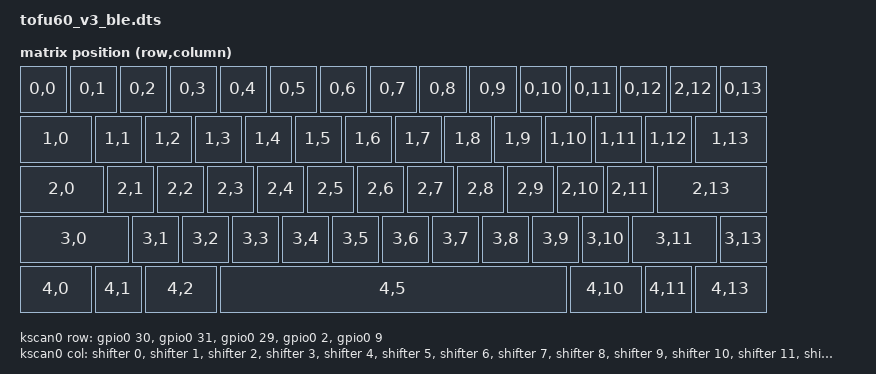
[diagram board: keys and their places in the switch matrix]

// SPDX-License-Identifier: MIT

/dts-v1/;
#include <nordic/nrf52840_qiaa.dtsi>
#include <common/nordic/nrf52840_uf2_boot_mode.dtsi>
#include <physical_layouts.dtsi>
#include <dt-bindings/zmk/matrix_transform.h>
#include <dt-bindings/led/led.h>
#include "tofu60_v3_ble-pinctrl.dtsi"

/*
  see
   https://github.com/yangdigi/zmk-keyboards-klink
   https://github.com/openkbd/zmk-config-tofu60-ble-3.0
*/

/*
                                  585   595
         row0  row1  row2  row3   SCK  MOSI       LED.B LED.G LED.R
           10     9     8     7     6     5     4     3     2     1
      ------+-----+-----+-----+-----+-----+-----+-----+-----+-----+------
   11 +  12                                                         |   |
   13 +  14                                                         |---|
   15 +  16                                                         |   |
   17 +  18 VBAT         EBYTE E73-2G4M08S1C                        |   |
   19 +  20                                                         |   |
   21 +  22                                 595                     | O |
   23 +  34                                  CS                     |---|
   25 +              28    30    32    34    36   38    40    42    |   |
      ------+-----+-----+-----+-----+-----+-----+-----+-----+-----+------
           26    27    29    31    33    35    37    39    41    43
          RST                                            row4

   1   P1.11         B19   Common I/O
   2   P1.10         A20   Common I/O   Low frequency I/ O, standard drive
   3   P0.03         B13   Common I/O   Analog input 1, low frequency I/O, standard drive
   4   AI4(P0.28)    B11   Common I/O   Analog input 4
   5   GND           -     -            Single ground line，connect to the power reference ground
   6   P1.13         A16   Common I/O   Low frequency I/O,  standard drive２
   7   AI0(P0.02)    A12   Common I/O   Analog input 0, low frequency I/O, standard drive
   8   AI5(P0.29)    A10   Common I/O   Analog input 5, low frequency I/O, standard drive
   9   AI7(P0.31)    A8    Common I/O   Analog input 7, low frequency I/O, standard
  10   AI6(P0.30)    B9    Common I/O   Analog input 6, low frequency I/O, standard drive

  11   XL1(P0.00)    D2    Common I/O   Connect to 32.768 kHz crystal
    12 P0.26         G1    Common I/O
  13   XL2(P0.01)    F2    Common I/O   Connect to 32.768 kHz crystal
    14 P0.06         L1    Common I/O
  15   AI3(P0.05)    K2    Common I/O   Analog input 3
    16 P0.08         N1    Common I/O
  17   P1.09         R1    Common I/O
    18 AI2(P0.04)    J1    Common I/O   Analog input 2
  19   VDD           -     -            Power supply
    20 P0.12         U1    Common I/O
  21   GND           -     -            ground line. connect to the power reference ground
    22 P0.07         M2    Common I/O
  23   VDH           VDDH  -            High-voltage power supply
    24 GND           -     -            ground line. connect to the power reference ground
  25   DCH           DCCH  -            DC/DC Converter output

  26   P0.18         RESET Common I/O   QSPI/CSN/external reset
  27   VBS           VBUS  -            USB power supply. 5V input. used to USB3.3V voltage regulator
    28 P0.15         AD10  Common I/O
  29   D-            D-    -            USB D-
    30 P0.17         AD12  Common I/O
  31   D+            D+    -            USB D+
    32 P0.20         AD16  Common I/O
  33   P0.13         AD8   Common I/O
    34 P0.22         AD18  Common I/O   QSPI
  35   P0.24         AD20  Common I/O
    36 P1.00         AD22  Common I/O
  37   SWD           SWDIO -            Serial debug programming port data
    38 P1.02         P1.02 Common I/O
  39   SWC           AC24  -            Serial debug programming port clock
    40 P1.04         U24   Common I/O   Low frequency I/O, standard drive
  41   NF1(P0.09)    L24   Common I/O   NFC input
    42 P1.06         R24   Common I/O   Low frequency I/O, standard drive
  43   NF2(p0.10)    J24   Common I/O   NFC input


                  col13 col12 col11 col10  col9                 col7  col6  col5  col4  col3  col2  col1
        s15   s14   s13   s12   s11   s10    s9                   s7    s6    s5    s4    s3    s2    s1
  GND    QH    QG    QF    QE    QD    QC    QB            GND    QH    QG    QF    QE    QD    QC    QB
    8     7     6     5     4     3     2     1              8     7     6     5     4     3     2     1
  ----------------------------------------------           ----------------------------------------------
  |                                          o |           |                                          o |
  |          U12  74HC595A                     |           |          U11  74HC595A                     |
  |                                            |           |                                            |
  ----------------------------------------------           ----------------------------------------------
    9    10    11    12    13    14    15    16              9    10    11    12    13    14    15    16
   QH' SRCLR  SRCLK RCLK   OE   SER    QA   VCC             QH' SRCLR  SRCLK RCLK   OE   SER    QA   VCC
                     CS   GND          S8                                     CS   GND   MOSI   S0
                                     col8                                                     col0

*/

/ {
  chosen {
    zephyr,code-partition = &code_partition;
    zephyr,sram = &sram0;
    zephyr,flash = &flash0;
    zmk,battery = &vbatt;
    zmk,physical-layout = &tsangan_layout;
  };

  vbatt: vbatt {
    compatible = "zmk,battery-voltage-divider";
    io-channels = <&adc 2>;
    output-ohms = <2000000>;
    full-ohms = <(2000000 + 820000)>;
  };


  leds {
    compatible = "gpio-leds";
    led_0: led_red {
      gpios = <&gpio1 11 GPIO_ACTIVE_LOW>;
      status = "okay";
    };
    led_1: led_green {
      gpios = <&gpio1 10 GPIO_ACTIVE_LOW>;
      status = "okay";
    };
    led_2: led_blue {
      gpios = <&gpio0 3 GPIO_ACTIVE_LOW>;
      status = "okay";
    };
  };

  aliases {
    ledred   = &led_0;
    ledgreen = &led_1;
    ledblue  = &led_2;
  };

  tsangan_transform: keymap_transform_0 {
    compatible = "zmk,matrix-transform";
    columns = <14>;
    rows = <5>;
    map =
      <
       RC(0,0) RC(0,1) RC(0,2) RC(0,3) RC(0,4) RC(0,5) RC(0,6) RC(0,7) RC(0,8) RC(0,9) RC(0,10) RC(0,11) RC(0,12) RC(2,12) RC(0,13)
       RC(1,0)    RC(1,1) RC(1,2) RC(1,3) RC(1,4) RC(1,5) RC(1,6) RC(1,7) RC(1,8) RC(1,9) RC(1,10) RC(1,11) RC(1,12)       RC(1,13)
       RC(2,0)       RC(2,1) RC(2,2) RC(2,3) RC(2,4) RC(2,5) RC(2,6) RC(2,7) RC(2,8) RC(2,9) RC(2,10) RC(2,11)             RC(2,13)
       RC(3,0)          RC(3,1) RC(3,2) RC(3,3) RC(3,4) RC(3,5) RC(3,6) RC(3,7) RC(3,8) RC(3,9) RC(3,10)          RC(3,11) RC(3,13)
       RC(4,0)   RC(4,1)   RC(4,2)                      RC(4,5)                                      RC(4,10)   RC(4,11)   RC(4,13)
      >;
  };

  kscan0: kscan_0 {
    compatible = "zmk,kscan-gpio-matrix";
    wakeup-source;

    diode-direction = "col2row";
    col-gpios
      = <&shifter 0 GPIO_ACTIVE_LOW>
      , <&shifter 1 GPIO_ACTIVE_LOW>
      , <&shifter 2 GPIO_ACTIVE_LOW>
      , <&shifter 3 GPIO_ACTIVE_LOW>
      , <&shifter 4 GPIO_ACTIVE_LOW>
      , <&shifter 5 GPIO_ACTIVE_LOW>
      , <&shifter 6 GPIO_ACTIVE_LOW>
      , <&shifter 7 GPIO_ACTIVE_LOW>
      , <&shifter 8 GPIO_ACTIVE_LOW>
      , <&shifter 9 GPIO_ACTIVE_LOW>
      , <&shifter 10 GPIO_ACTIVE_LOW>
      , <&shifter 11 GPIO_ACTIVE_LOW>
      , <&shifter 12 GPIO_ACTIVE_LOW>
      , <&shifter 13 GPIO_ACTIVE_LOW>
      ;

    row-gpios
      = <&gpio0 30 (GPIO_ACTIVE_LOW | GPIO_PULL_UP)>
      , <&gpio0 31 (GPIO_ACTIVE_LOW | GPIO_PULL_UP)>
      , <&gpio0 29 (GPIO_ACTIVE_LOW | GPIO_PULL_UP)>
      , <&gpio0  2 (GPIO_ACTIVE_LOW | GPIO_PULL_UP)>
      , <&gpio0  9 (GPIO_ACTIVE_LOW | GPIO_PULL_UP)>
      ;
  };

  tsangan_layout: layout0 {
    compatible = "zmk,physical-layout";
    display-name = "TSANGAN";
    kscan = <&kscan0>;
    transform = <&tsangan_transform>;
    keys  //                   w   h    x    y     rot    rx    ry
      = <&key_physical_attrs 100 100    0    0       0     0     0>
      , <&key_physical_attrs 100 100  100    0       0     0     0>
      , <&key_physical_attrs 100 100  200    0       0     0     0>
      , <&key_physical_attrs 100 100  300    0       0     0     0>
      , <&key_physical_attrs 100 100  400    0       0     0     0>
      , <&key_physical_attrs 100 100  500    0       0     0     0>
      , <&key_physical_attrs 100 100  600    0       0     0     0>
      , <&key_physical_attrs 100 100  700    0       0     0     0>
      , <&key_physical_attrs 100 100  800    0       0     0     0>
      , <&key_physical_attrs 100 100  900    0       0     0     0>
      , <&key_physical_attrs 100 100 1000    0       0     0     0>
      , <&key_physical_attrs 100 100 1100    0       0     0     0>
      , <&key_physical_attrs 100 100 1200    0       0     0     0>
      , <&key_physical_attrs 100 100 1300    0       0     0     0>
      , <&key_physical_attrs 100 100 1400    0       0     0     0>
      , <&key_physical_attrs 150 100    0  100       0     0     0>
      , <&key_physical_attrs 100 100  150  100       0     0     0>
      , <&key_physical_attrs 100 100  250  100       0     0     0>
      , <&key_physical_attrs 100 100  350  100       0     0     0>
      , <&key_physical_attrs 100 100  450  100       0     0     0>
      , <&key_physical_attrs 100 100  550  100       0     0     0>
      , <&key_physical_attrs 100 100  650  100       0     0     0>
      , <&key_physical_attrs 100 100  750  100       0     0     0>
      , <&key_physical_attrs 100 100  850  100       0     0     0>
      , <&key_physical_attrs 100 100  950  100       0     0     0>
      , <&key_physical_attrs 100 100 1050  100       0     0     0>
      , <&key_physical_attrs 100 100 1150  100       0     0     0>
      , <&key_physical_attrs 100 100 1250  100       0     0     0>
      , <&key_physical_attrs 150 100 1350  100       0     0     0>
      , <&key_physical_attrs 175 100    0  200       0     0     0>
      , <&key_physical_attrs 100 100  175  200       0     0     0>
      , <&key_physical_attrs 100 100  275  200       0     0     0>
      , <&key_physical_attrs 100 100  375  200       0     0     0>
      , <&key_physical_attrs 100 100  475  200       0     0     0>
      , <&key_physical_attrs 100 100  575  200       0     0     0>
      , <&key_physical_attrs 100 100  675  200       0     0     0>
      , <&key_physical_attrs 100 100  775  200       0     0     0>
      , <&key_physical_attrs 100 100  875  200       0     0     0>
      , <&key_physical_attrs 100 100  975  200       0     0     0>
      , <&key_physical_attrs 100 100 1075  200       0     0     0>
      , <&key_physical_attrs 100 100 1175  200       0     0     0>
      , <&key_physical_attrs 225 100 1275  200       0     0     0>
      , <&key_physical_attrs 225 100    0  300       0     0     0>
      , <&key_physical_attrs 100 100  225  300       0     0     0>
      , <&key_physical_attrs 100 100  325  300       0     0     0>
      , <&key_physical_attrs 100 100  425  300       0     0     0>
      , <&key_physical_attrs 100 100  525  300       0     0     0>
      , <&key_physical_attrs 100 100  625  300       0     0     0>
      , <&key_physical_attrs 100 100  725  300       0     0     0>
      , <&key_physical_attrs 100 100  825  300       0     0     0>
      , <&key_physical_attrs 100 100  925  300       0     0     0>
      , <&key_physical_attrs 100 100 1025  300       0     0     0>
      , <&key_physical_attrs 100 100 1125  300       0     0     0>
      , <&key_physical_attrs 175 100 1225  300       0     0     0>
      , <&key_physical_attrs 100 100 1400  300       0     0     0>
      , <&key_physical_attrs 150 100    0  400       0     0     0>
      , <&key_physical_attrs 100 100  150  400       0     0     0>
      , <&key_physical_attrs 150 100  250  400       0     0     0>
      , <&key_physical_attrs 700 100  400  400       0     0     0>
      , <&key_physical_attrs 150 100 1100  400       0     0     0>
      , <&key_physical_attrs 100 100 1250  400       0     0     0>
      , <&key_physical_attrs 150 100 1350  400       0     0     0>
      ;
  };
};

&reg1 {
  regulator-initial-mode = <NRF5X_REG_MODE_DCDC>;
};

&adc {
  status = "okay";
};

&gpiote {
  status = "okay";
};

&gpio0 {
  status = "okay";
};

&gpio1 {
  status = "okay";
};

// use NFC pin as GPIO
&uicr {
  nfct-pins-as-gpios;
};

zephyr_udc0: &usbd {
  status = "okay";
};

&spi0 {
  compatible = "nordic,nrf-spim";
  pinctrl-0 = <&spi3_default>;
  pinctrl-1 = <&spi3_sleep>;
  pinctrl-names = "default", "sleep";
  status = "okay";
  cs-gpios = <&gpio1 0 GPIO_ACTIVE_LOW>;
  shifter: 595@0 {
    compatible = "zmk,gpio-595";
    status = "okay";
    gpio-controller;
    spi-max-frequency = <400000>;
    // spi-max-frequency = <8000000>; //default 400K to 8M, spim3 max 32M
    reg = <0>;
    #gpio-cells = <2>;
    ngpios = <16>;
  };
};


&flash0 {
  /*
   * For more information, see:
   * http://docs.zephyrproject.org/latest/devices/dts/flash_partitions.html
   */
  partitions {
    compatible = "fixed-partitions";
    #address-cells = <1>;
    #size-cells = <1>;

    /*
     * The original configuration seems to be No SoftDevice,
     * I've updated the bootloader, but you need to be careful
     *
     * No SoftDevice   = 0x01000
     * SoftDevice ~6.x = 0x26000
     * SoftDevice  7.x = 0x27000
     */
    sd_partition: partition@0 {
      reg = <0x00000000 0x00026000>;
    };

    code_partition: partition@26000 {
      reg = <0x00026000 0x000c6000>;
    };

    /*
     * The flash starting at 0x000ec000 and ending at
     * 0x000f3fff is reserved for use by the application.
     */

    /*
     * Storage partition will be used by FCB/LittleFS/NVS
     * if enabled.
     */
    storage_partition: partition@ec000 {
      reg = <0x000ec000 0x00008000>;
    };

    boot_partition: partition@f4000 {
      reg = <0x000f4000 0x0000c000>;
    };
  };
};
